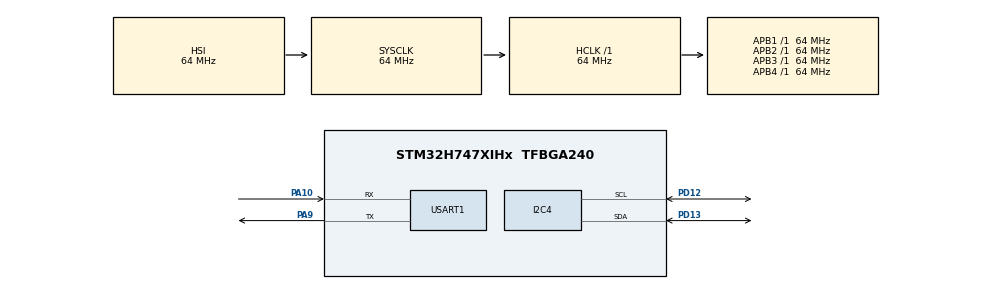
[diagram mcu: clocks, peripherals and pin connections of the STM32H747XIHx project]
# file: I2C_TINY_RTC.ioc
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CortexM4.IPs=BDMA,DMA,FATFS_M4\:I,FREERTOS_M4\:I,IWDG2\:I,MDMA,NVIC2\:I,RCC,USB_DEVICE_M4\:I,USB_HOST_M4\:I,WWDG2\:I,ADC1\:I,DCMI\:I,TIM3\:I,DEBUG,PDM2PCM_M4\:I,PWR,RESMGR_UTILITY,SYS_M4\:I,CORTEX_M4\:I,OPENAMP_M4\:I,VREFBUF,GPIO
CortexM7.IPs=BDMA\:I,DMA\:I,FATFS_M7\:I,FREERTOS_M7\:I,IWDG1\:I,MDMA\:I,NVIC1\:I,RCC\:I,USB_DEVICE_M7\:I,USB_HOST_M7\:I,WWDG1\:I,CORTEX_M7\:I,DEBUG\:I,PDM2PCM_M7\:I,PWR\:I,RESMGR_UTILITY\:I,SYS\:I,OPENAMP_M7\:I,VREFBUF\:I,GPIO\:I,I2C4\:I,USART1\:I
Mcu.Family=STM32H7
Mcu.Name=STM32H747XIHx
Mcu.Package=TFBGA240
NVIC1.PriorityGroup=NVIC_PRIORITYGROUP_4
NVIC2.PriorityGroup=NVIC_PRIORITYGROUP_4
PA10.Mode=Asynchronous
PA10.PinAttribute=CortexM7
PA10.Signal=USART1_RX
PA9.Mode=Asynchronous
PA9.PinAttribute=CortexM7
PA9.Signal=USART1_TX
PD12.GPIO_Pu=GPIO_PULLUP
PD12.Mode=I2C
PD12.PinAttribute=CortexM7
PD12.Signal=I2C4_SCL
PD13.GPIO_Pu=GPIO_PULLUP
PD13.Mode=I2C
PD13.PinAttribute=CortexM7
PD13.Signal=I2C4_SDA
ProjectManager.HeapSize=M4-0x200,M7-0x200
ProjectManager.StackSize=M4-0x400,M7-0x400
ProjectManager.TargetToolchain=STM32CubeIDE
RCC.ADCFreq_Value=75000000
RCC.APB1Freq_Value=64000000
RCC.APB2Freq_Value=64000000
RCC.APB3Freq_Value=64000000
RCC.APB4Freq_Value=64000000
RCC.CortexFreq_Value=64000000
RCC.DIVM2=4
RCC.DIVN2=9
RCC.HCLKFreq_Value=64000000
RCC.PLL2FRACN=3072
RCC.PWR_Regulator_Voltage_Scale=PWR_REGULATOR_VOLTAGE_SCALE1
RCC.SYSCLKFreq_VALUE=64000000
RCC.SupplySource=PWR_DIRECT_SMPS_SUPPLY
RCC.USBFreq_Value=129000000
USART1.VirtualMode-Asynchronous=VM_ASYNC
VP_SYS_M4_VS_Systick.Mode=SysTick
board=STM32H747I-DISCO

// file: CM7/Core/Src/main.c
/* USER CODE BEGIN Header */
/**
  ******************************************************************************
  * @file           : main.c
  * @brief          : Main program body
  ******************************************************************************
  * @attention
  *
  * Copyright (c) 2024 STMicroelectronics.
  * All rights reserved.
  *
  * This software is licensed under terms that can be found in the LICENSE file
  * in the root directory of this software component.
  * If no LICENSE file comes with this software, it is provided AS-IS.
  *
  ******************************************************************************
  */
/* USER CODE END Header */
#include "main.h"
#include "stdio.h"
#include "string.h"

/* USER CODE BEGIN PD */

#ifndef HSEM_ID_0
#define HSEM_ID_0 (0U) /* HW semaphore 0*/
#endif

/* USER CODE END PD */

/* USER CODE BEGIN PM */
// I2C address of DS1307 RTC
#define DS1307_ADDRESS 0x68 << 1  // Left shift for 7-bit address format
/* USER CODE END PM */

I2C_HandleTypeDef hi2c4;

UART_HandleTypeDef huart1;

/* USER CODE BEGIN PV */
char uart_buffer[64];  // Buffer for UART communication
/* USER CODE END PV */

void SystemClock_Config(void);
static void MX_GPIO_Init(void);
static void MX_I2C4_Init(void);
static void MX_USART1_UART_Init(void);

/* USER CODE BEGIN 0 */
void DS1307_SetTime(uint8_t hour, uint8_t min, uint8_t sec);
void DS1307_GetTime(uint8_t *hour, uint8_t *min, uint8_t *sec);
uint8_t DECtoBCD(uint8_t dec);
uint8_t BCDtoDEC(uint8_t bcd);

/* USER CODE END 0 */

int main(void)
{

/* USER CODE BEGIN Boot_Mode_Sequence_0 */
  int32_t timeout;
/* USER CODE END Boot_Mode_Sequence_0 */

/* USER CODE BEGIN Boot_Mode_Sequence_1 */
  /* Wait until CPU2 boots and enters in stop mode or timeout*/
  timeout = 0xFFFF;
  while((__HAL_RCC_GET_FLAG(RCC_FLAG_D2CKRDY) != RESET) && (timeout-- > 0));
  if ( timeout < 0 )
  {
  Error_Handler();
  }
/* USER CODE END Boot_Mode_Sequence_1 */
  /* MCU Configuration--------------------------------------------------------*/

  /* Reset of all peripherals, Initializes the Flash interface and the Systick. */
  HAL_Init();

  /* Configure the system clock */
  SystemClock_Config();
/* USER CODE BEGIN Boot_Mode_Sequence_2 */
/* When system initialization is finished, Cortex-M7 will release Cortex-M4 by means of
HSEM notification */
/*HW semaphore Clock enable*/
__HAL_RCC_HSEM_CLK_ENABLE();
/*Take HSEM */
HAL_HSEM_FastTake(HSEM_ID_0);
/*Release HSEM in order to notify the CPU2(CM4)*/
HAL_HSEM_Release(HSEM_ID_0,0);
/* wait until CPU2 wakes up from stop mode */
timeout = 0xFFFF;
while((__HAL_RCC_GET_FLAG(RCC_FLAG_D2CKRDY) == RESET) && (timeout-- > 0));
if ( timeout < 0 )
{
Error_Handler();
}
/* USER CODE END Boot_Mode_Sequence_2 */

  /* Initialize all configured peripherals */
  MX_GPIO_Init();
  MX_I2C4_Init();
  MX_USART1_UART_Init();
  /* USER CODE BEGIN 2 */
  uint8_t hour, minute, second;
  DS1307_SetTime(5, 33, 56);
  /* USER CODE END 2 */

  /* Infinite loop */
  /* USER CODE BEGIN WHILE */
  while (1)
  {
	  // Get the current time
	          DS1307_GetTime(&hour, &minute, &second);

	          // Format the time string and send it via UART
	          snprintf(uart_buffer, sizeof(uart_buffer), "Time: %02d:%02d:%02d\r\n", hour, minute, second);
	          HAL_UART_Transmit(&huart1, (uint8_t *)uart_buffer, strlen(uart_buffer), HAL_MAX_DELAY);

	          HAL_Delay(1000);  // Wait for 1 second
    /* USER CODE END WHILE */

  }
}

void SystemClock_Config(void)
{
  RCC_OscInitTypeDef RCC_OscInitStruct = {0};
  RCC_ClkInitTypeDef RCC_ClkInitStruct = {0};

  /** Supply configuration update enable
  */
  HAL_PWREx_ConfigSupply(PWR_DIRECT_SMPS_SUPPLY);

  /** Configure the main internal regulator output voltage
  */
  __HAL_PWR_VOLTAGESCALING_CONFIG(PWR_REGULATOR_VOLTAGE_SCALE1);

  while(!__HAL_PWR_GET_FLAG(PWR_FLAG_VOSRDY)) {}

  /** Initializes the RCC Oscillators according to the specified parameters
  * in the RCC_OscInitTypeDef structure.
  */
  RCC_OscInitStruct.OscillatorType = RCC_OSCILLATORTYPE_HSI;
  RCC_OscInitStruct.HSIState = RCC_HSI_DIV1;
  RCC_OscInitStruct.HSICalibrationValue = RCC_HSICALIBRATION_DEFAULT;
  RCC_OscInitStruct.PLL.PLLState = RCC_PLL_NONE;
  if (HAL_RCC_OscConfig(&RCC_OscInitStruct) != HAL_OK)
  {
    Error_Handler();
  }

  /** Initializes the CPU, AHB and APB buses clocks
  */
  RCC_ClkInitStruct.ClockType = RCC_CLOCKTYPE_HCLK|RCC_CLOCKTYPE_SYSCLK
                              |RCC_CLOCKTYPE_PCLK1|RCC_CLOCKTYPE_PCLK2
                              |RCC_CLOCKTYPE_D3PCLK1|RCC_CLOCKTYPE_D1PCLK1;
  RCC_ClkInitStruct.SYSCLKSource = RCC_SYSCLKSOURCE_HSI;
  RCC_ClkInitStruct.SYSCLKDivider = RCC_SYSCLK_DIV1;
  RCC_ClkInitStruct.AHBCLKDivider = RCC_HCLK_DIV1;
  RCC_ClkInitStruct.APB3CLKDivider = RCC_APB3_DIV1;
  RCC_ClkInitStruct.APB1CLKDivider = RCC_APB1_DIV1;
  RCC_ClkInitStruct.APB2CLKDivider = RCC_APB2_DIV1;
  RCC_ClkInitStruct.APB4CLKDivider = RCC_APB4_DIV1;

  if (HAL_RCC_ClockConfig(&RCC_ClkInitStruct, FLASH_LATENCY_0) != HAL_OK)
  {
    Error_Handler();
  }
}

static void MX_I2C4_Init(void)
{

  hi2c4.Instance = I2C4;
  hi2c4.Init.Timing = 0x10707DBC;
  hi2c4.Init.OwnAddress1 = 0;
  hi2c4.Init.AddressingMode = I2C_ADDRESSINGMODE_7BIT;
  hi2c4.Init.DualAddressMode = I2C_DUALADDRESS_DISABLE;
  hi2c4.Init.OwnAddress2 = 0;
  hi2c4.Init.OwnAddress2Masks = I2C_OA2_NOMASK;
  hi2c4.Init.GeneralCallMode = I2C_GENERALCALL_DISABLE;
  hi2c4.Init.NoStretchMode = I2C_NOSTRETCH_DISABLE;
  if (HAL_I2C_Init(&hi2c4) != HAL_OK)
  {
    Error_Handler();
  }

  /** Configure Analogue filter
  */
  if (HAL_I2CEx_ConfigAnalogFilter(&hi2c4, I2C_ANALOGFILTER_ENABLE) != HAL_OK)
  {
    Error_Handler();
  }

  /** Configure Digital filter
  */
  if (HAL_I2CEx_ConfigDigitalFilter(&hi2c4, 0) != HAL_OK)
  {
    Error_Handler();
  }

}

static void MX_USART1_UART_Init(void)
{

  huart1.Instance = USART1;
  huart1.Init.BaudRate = 115200;
  huart1.Init.WordLength = UART_WORDLENGTH_8B;
  huart1.Init.StopBits = UART_STOPBITS_1;
  huart1.Init.Parity = UART_PARITY_NONE;
  huart1.Init.Mode = UART_MODE_TX_RX;
  huart1.Init.HwFlowCtl = UART_HWCONTROL_NONE;
  huart1.Init.OverSampling = UART_OVERSAMPLING_16;
  huart1.Init.OneBitSampling = UART_ONE_BIT_SAMPLE_DISABLE;
  huart1.Init.ClockPrescaler = UART_PRESCALER_DIV1;
  huart1.AdvancedInit.AdvFeatureInit = UART_ADVFEATURE_NO_INIT;
  if (HAL_UART_Init(&huart1) != HAL_OK)
  {
    Error_Handler();
  }
  if (HAL_UARTEx_SetTxFifoThreshold(&huart1, UART_TXFIFO_THRESHOLD_1_8) != HAL_OK)
  {
    Error_Handler();
  }
  if (HAL_UARTEx_SetRxFifoThreshold(&huart1, UART_RXFIFO_THRESHOLD_1_8) != HAL_OK)
  {
    Error_Handler();
  }
  if (HAL_UARTEx_DisableFifoMode(&huart1) != HAL_OK)
  {
    Error_Handler();
  }

}

static void MX_GPIO_Init(void)
{

  /* GPIO Ports Clock Enable */
  __HAL_RCC_GPIOA_CLK_ENABLE();
  __HAL_RCC_GPIOD_CLK_ENABLE();

}

/* USER CODE BEGIN 4 */
// Function to set time in DS1307
void DS1307_SetTime(uint8_t hour, uint8_t min, uint8_t sec) {
    uint8_t data[3];
    data[0] = DECtoBCD(sec);  // Convert to BCD
    data[1] = DECtoBCD(min);  // Convert to BCD
    data[2] = DECtoBCD(hour);  // Convert to BCD
    HAL_I2C_Mem_Write(&hi2c4, DS1307_ADDRESS, 0x00, I2C_MEMADD_SIZE_8BIT, data, 3, HAL_MAX_DELAY);
}

// Function to get time from DS1307
void DS1307_GetTime(uint8_t *hour, uint8_t *min, uint8_t *sec) {
    uint8_t data[3];
    HAL_I2C_Mem_Read(&hi2c4, DS1307_ADDRESS, 0x00, I2C_MEMADD_SIZE_8BIT, data, 3, HAL_MAX_DELAY);
    *sec = BCDtoDEC(data[0] & 0x7F);  // Convert from BCD
    *min = BCDtoDEC(data[1]);  // Convert from BCD
    *hour = BCDtoDEC(data[2] & 0x3F); // Convert from BCD
}
 uint8_t DECtoBCD(uint8_t dec)
 {
	 return ((dec / 10 << 4) | (dec % 10));
 }
 uint8_t BCDtoDEC(uint8_t bcd)
 {
	 return ((bcd >> 4) * 10+ (bcd & 0x0F));
 }
/* USER CODE END 4 */

void Error_Handler(void)
{
  __disable_irq();
  while (1)
  {
  }
}
